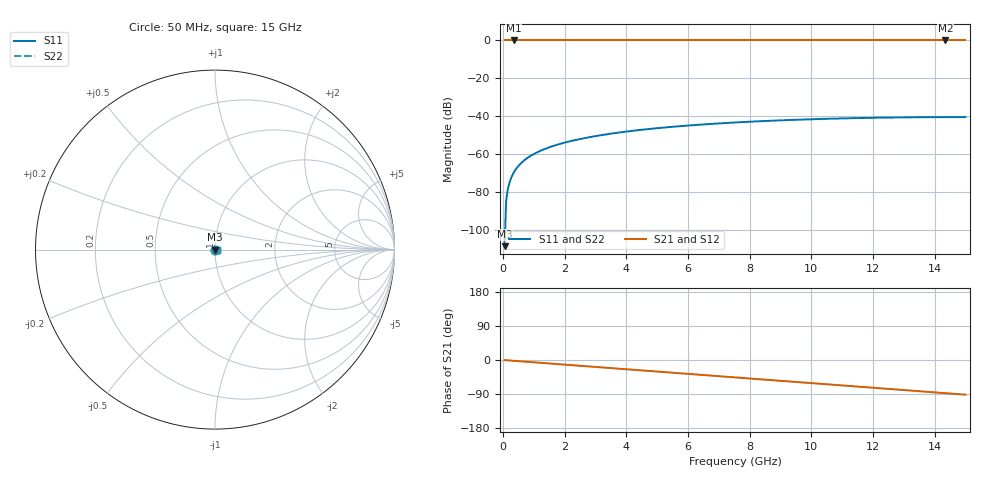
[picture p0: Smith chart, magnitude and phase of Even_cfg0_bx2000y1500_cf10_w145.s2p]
! Sonnet Data File
! From: emgraph Version : 16.52.1
! From Emgraph Data: Waveguide
! Data File Written: 09/24/2017 11:13:27
!< HDATE 09/24/2017 10:17:04
!< MDATE 09/24/2017 10:17:04
# GHZ S MA R 50.00000
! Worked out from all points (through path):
!   300 points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, 50 MHz to 15 GHz, reference 50 ohm
!   highest |S21| = 0.00 dB at 350 MHz (marker M1); lowest = 0.0 dB at 14.35 GHz (marker M2)
!   group delay of S21, straight-line fit = 16.9 ps
!   lowest |S11| = -108.4 dB at 50 MHz (marker M3), VSWR 1.00, Z = 50 + j0.000379 ohm
!   |S11| at or under -10 dB: start of sweep to end of sweep
!   |S22| runs from -108.4 to -40.4 dB; largest |S21 - S12| = 0
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0.05  3.787e-06 89.9  1 -0.3  1 -0.3  3.787e-06 89.9
!< P1 F=0.05 Eeff=(6.41541166 -2.8654e-5) Z0=(50.3502242 1.1465e-4) R=2.3731701 C=0.00406472
!< P2 F=0.05 Eeff=(6.41541166 -2.8654e-5) Z0=(50.3502242 1.1465e-4) R=2.3731701 C=0.00406472
0.1  5.945e-05 90.3  1 -0.6  1 -0.6  5.945e-05 90.3
0.15  0.0001148 89.9  1 -0.9  1 -0.9  0.0001148 89.9
0.2  0.0001699 89.5  1 -1.2  1 -1.2  0.0001699 89.5
0.25  0.0002247 89.1  1 -1.5  1 -1.5  0.0002247 89.1
0.35  0.0003334 88.4  1 -2.1  1 -2.1  0.0003334 88.4
0.5  0.0004947 87.3  1 -3.0  1 -3.0  0.0004947 87.3
0.65  0.000654 86.2  1 -4.0  1 -4.0  0.000654 86.2
0.85  0.0008636 84.9  1 -5.2  1 -5.2  0.0008636 84.9
1.1  0.001122 83.3  1 -6.7  1 -6.7  0.001122 83.3
1.4  0.001428 81.4  1 -8.5  1 -8.5  0.001428 81.4
1.7  0.001731 79.6  1 -10.4  1 -10.4  0.001731 79.6
2.1  0.002131 77.1  1 -12.8  1 -12.8  0.002131 77.1
2.55  0.002576 74.4  1 -15.6  1 -15.6  0.002576 74.4
3.65  0.00364 67.8  1 -22.3  1 -22.3  0.00364 67.8
5.05  0.004919 59.2  1 -30.8  1 -30.8  0.004919 59.2
6.2  0.005887 52.2  1 -37.8  1 -37.8  0.005887 52.2
7.55  0.006908 44.0  1 -46.0  1 -46.0  0.006908 44.0
10.05  0.008405 28.7  1 -61.3  1 -61.3  0.008405 28.7
12.55  0.009302 13.5  1 -76.5  1 -76.5  0.009302 13.5
14.35  0.009547 2.5  0.9999 -87.5  0.9999 -87.5  0.009547 2.5
15  0.009542 -1.5  1 -91.5  1 -91.5  0.009542 -1.5
